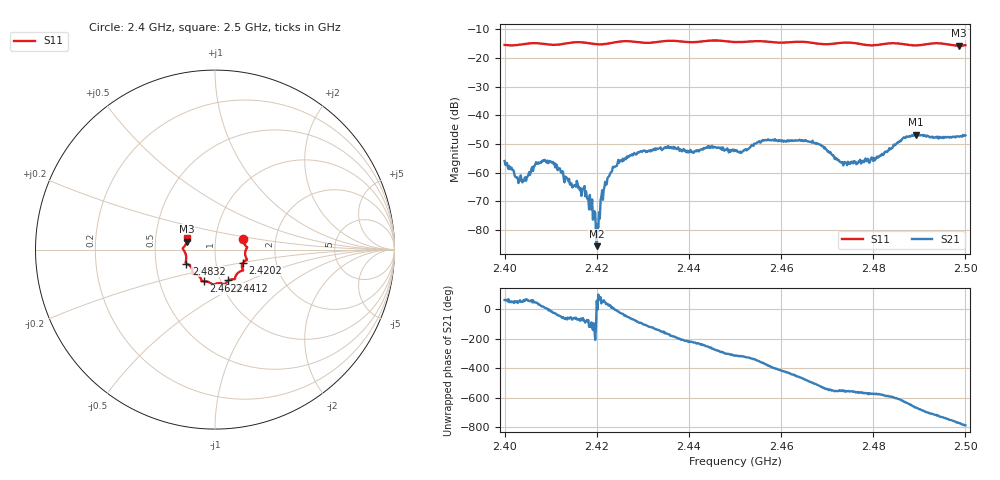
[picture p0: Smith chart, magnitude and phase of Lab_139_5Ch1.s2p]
# Hz S RI R 50
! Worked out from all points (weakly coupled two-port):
!   601 points, 2.4 GHz to 2.5 GHz, reference 50 ohm
!   highest |S21| = -46.82 dB at 2.4893 GHz (marker M1); lowest = -85.6 dB at 2.42 GHz (marker M2)
!   lowest |S11| = -15.8 dB at 2.4987 GHz (marker M3), VSWR 1.39, Z = 36.3 + j3.36 ohm
!   |S11| at or under -10 dB: start of sweep to end of sweep
!   S12 and S22 are empty: the file has one direction only
!   S11 on the Smith chart (normalised r, x): 2.4 GHz: 1.36, +0.17; 2.4202 GHz: 1.35, -0.20; 2.4412 GHz: 1.09, -0.39; 2.4622 GHz: 0.83, -0.30; 2.4832 GHz: 0.72, -0.12; 2.5 GHz: 0.73, +0.09
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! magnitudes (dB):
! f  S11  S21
! 2.4 GHz  -15.5  -56.0
! 2.4035 GHz  -15.4  -61.0
! 2.4072 GHz  -14.9  -57.0
! 2.4103 GHz  -15.5  -56.5
! 2.4167 GHz  -14.6  -68.1
! 2.4177 GHz  -14.7  -66.5
! 2.42 GHz  -15.3  -85.6
! 2.4202 GHz  -15.3  -78.1
! 2.4213 GHz  -15.3  -69.5
! 2.4242 GHz  -14.5  -57.8
! 2.4333 GHz  -14.4  -51.7
! 2.4412 GHz  -14.5  -52.6
! 2.45 GHz  -14.5  -52.4
! 2.4563 GHz  -14.3  -48.7
! 2.4622 GHz  -14.5  -48.8
! 2.4667 GHz  -14.7  -49.5
! 2.4738 GHz  -14.7  -56.3
! 2.4832 GHz  -15.0  -52.5
! 2.4833 GHz  -15.0  -52.2
! 2.4893 GHz  -15.7  -46.8
! 2.4987 GHz  -15.8  -47.5
! 2.5 GHz  -15.6  -47.0
